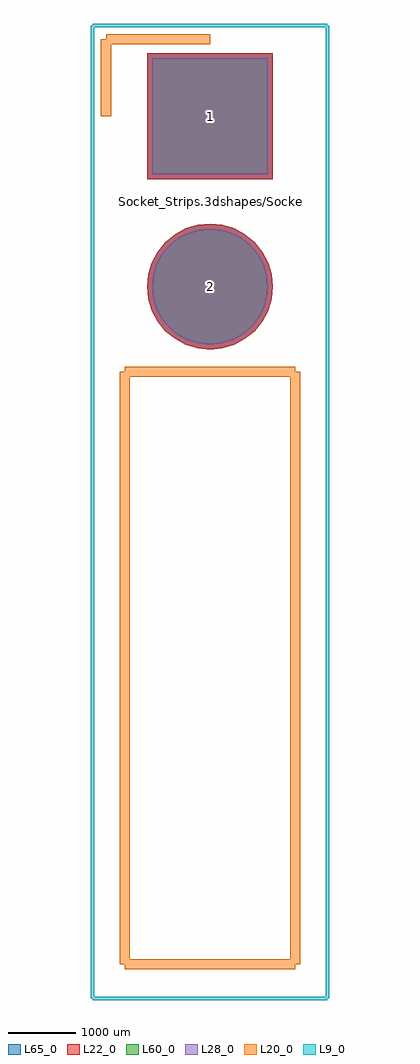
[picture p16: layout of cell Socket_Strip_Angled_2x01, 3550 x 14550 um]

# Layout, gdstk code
import gdstk
lib = gdstk.Library(unit=1e-6, precision=1e-09)
def R(c, l, rs):  # rectangles x0, y0, x1, y1
    for r in rs: c.add(gdstk.rectangle(r[:2], r[2:], *l))
def P(c, l, *ps):  # polygons
    for p in ps: c.add(gdstk.Polygon(p, *l))
L9_0 = (9, 0)
L20_0 = (20, 0)
L22_0 = (22, 0)
L28_0 = (28, 0)
L60_0 = (60, 0)
L65_0 = (65, 0)

socket_strip_angled_2x01 = lib.new_cell('Socket_Strip_Angled_2x01')
R(socket_strip_angled_2x01, L22_0, [(-938.6,-938.6,938.6,938.6)])
P(socket_strip_angled_2x01, L22_0, [(938.6,-2540),(920.565,-2356.888),(867.153,-2180.813),(780.417,-2018.542),(663.69,-1876.31),(521.458,-1759.583),(359.187,-1672.847),(183.112,-1619.435),(0,-1601.4),(-183.112,-1619.435),(-359.187,-1672.847),(-521.458,-1759.583),(-663.69,-1876.31),(-780.417,-2018.542),(-867.153,-2180.813),(-920.565,-2356.888),(-938.6,-2540),(-920.565,-2723.112),(-867.153,-2899.187),(-780.417,-3061.458),(-663.69,-3203.69),(-521.458,-3320.417),(-359.187,-3407.153),(-183.112,-3460.565),(0,-3478.6),(183.112,-3460.565),(359.187,-3407.153),(521.458,-3320.417),(663.69,-3203.69),(780.417,-3061.458),(867.153,-2899.187),(920.565,-2723.112)])
R(socket_strip_angled_2x01, L28_0, [(-863.6,-863.6,863.6,863.6)])
P(socket_strip_angled_2x01, L28_0, [(863.6,-2540),(847.006,-2371.52),(797.862,-2209.515),(718.057,-2060.21),(610.657,-1929.343),(479.79,-1821.943),(330.485,-1742.138),(168.48,-1692.994),(0,-1676.4),(-168.48,-1692.994),(-330.485,-1742.138),(-479.79,-1821.943),(-610.657,-1929.343),(-718.057,-2060.21),(-797.862,-2209.515),(-847.006,-2371.52),(-863.6,-2540),(-847.006,-2708.48),(-797.862,-2870.485),(-718.057,-3019.79),(-610.657,-3150.657),(-479.79,-3258.057),(-330.485,-3337.862),(-168.48,-3387.006),(0,-3403.6),(168.48,-3387.006),(330.485,-3337.862),(479.79,-3258.057),(610.657,-3150.657),(718.057,-3019.79),(797.862,-2870.485),(847.006,-2708.48)])
R(socket_strip_angled_2x01, L60_0, [(-863.6,-863.6,863.6,863.6)])
P(socket_strip_angled_2x01, L60_0, [(863.6,-2540),(847.006,-2371.52),(797.862,-2209.515),(718.057,-2060.21),(610.657,-1929.343),(479.79,-1821.943),(330.485,-1742.138),(168.48,-1692.994),(0,-1676.4),(-168.48,-1692.994),(-330.485,-1742.138),(-479.79,-1821.943),(-610.657,-1929.343),(-718.057,-2060.21),(-797.862,-2209.515),(-847.006,-2371.52),(-863.6,-2540),(-847.006,-2708.48),(-797.862,-2870.485),(-718.057,-3019.79),(-610.657,-3150.657),(-479.79,-3258.057),(-330.485,-3337.862),(-168.48,-3387.006),(0,-3403.6),(168.48,-3387.006),(330.485,-3337.862),(479.79,-3258.057),(610.657,-3150.657),(718.057,-3019.79),(797.862,-2870.485),(847.006,-2708.48)])
R(socket_strip_angled_2x01, L65_0, [(-938.6,-938.6,938.6,938.6)])
P(socket_strip_angled_2x01, L65_0, [(938.6,-2540),(920.565,-2356.888),(867.153,-2180.813),(780.417,-2018.542),(663.69,-1876.31),(521.458,-1759.583),(359.187,-1672.847),(183.112,-1619.435),(0,-1601.4),(-183.112,-1619.435),(-359.187,-1672.847),(-521.458,-1759.583),(-663.69,-1876.31),(-780.417,-2018.542),(-867.153,-2180.813),(-920.565,-2356.888),(-938.6,-2540),(-920.565,-2723.112),(-867.153,-2899.187),(-780.417,-3061.458),(-663.69,-3203.69),(-521.458,-3320.417),(-359.187,-3407.153),(-183.112,-3460.565),(0,-3478.6),(183.112,-3460.565),(359.187,-3407.153),(521.458,-3320.417),(663.69,-3203.69),(780.417,-3061.458),(867.153,-2899.187),(920.565,-2723.112)])
socket_strip_angled_2x01.add(gdstk.FlexPath([(-1270,-12640),(-1270,-3810)], 149.998, ends="flush", simple_path=True, layer=20, datatype=0))  # L20_0
socket_strip_angled_2x01.add(gdstk.FlexPath([(1270,-12640),(-1270,-12640)], 149.998, ends="flush", simple_path=True, layer=20, datatype=0))  # L20_0
socket_strip_angled_2x01.add(gdstk.FlexPath([(1270,-3810),(1270,-12640)], 149.998, ends="flush", simple_path=True, layer=20, datatype=0))  # L20_0
socket_strip_angled_2x01.add(gdstk.FlexPath([(1270,-3810),(-1270,-3810)], 149.998, ends="flush", simple_path=True, layer=20, datatype=0))  # L20_0
socket_strip_angled_2x01.add(gdstk.FlexPath([(-1270,-3810),(-1270,-12640)], 149.998, ends="flush", simple_path=True, layer=20, datatype=0))  # L20_0
socket_strip_angled_2x01.add(gdstk.FlexPath([(-1750,-13150),(1750,-13150)], 50, ends="flush", simple_path=True, layer=9, datatype=0))  # L9_0
socket_strip_angled_2x01.add(gdstk.FlexPath([(-1750,1350),(1750,1350)], 50, ends="flush", simple_path=True, layer=9, datatype=0))  # L9_0
socket_strip_angled_2x01.add(gdstk.FlexPath([(1750,1350),(1750,-13150)], 50, ends="flush", simple_path=True, layer=9, datatype=0))  # L9_0
socket_strip_angled_2x01.add(gdstk.FlexPath([(-1750,1350),(-1750,-13150)], 50, ends="flush", simple_path=True, layer=9, datatype=0))  # L9_0
socket_strip_angled_2x01.add(gdstk.FlexPath([(-1550,1150),(-1550,0)], 149.998, ends="flush", simple_path=True, layer=20, datatype=0))  # L20_0
socket_strip_angled_2x01.add(gdstk.FlexPath([(0,1150),(-1550,1150)], 149.998, ends="flush", simple_path=True, layer=20, datatype=0))  # L20_0
socket_strip_angled_2x01.add(gdstk.Label('Socket_Strips.3dshapes/Socket_Strip_Angled_2x01.wrl', (0,-1270), layer=12, texttype=0))
socket_strip_angled_2x01.add(gdstk.Label('2', (0,-2540), layer=28, texttype=0))
socket_strip_angled_2x01.add(gdstk.Label('1', (0,0), layer=28, texttype=0))
socket_strip_angled_2x01.add(gdstk.Label('type', (0,2600), layer=9, texttype=0))
socket_strip_angled_2x01.add(gdstk.Label('devicename', (0,4600), layer=9, texttype=0))

lib.write_gds('Socket_Strip_Angled_2x01.gds')
